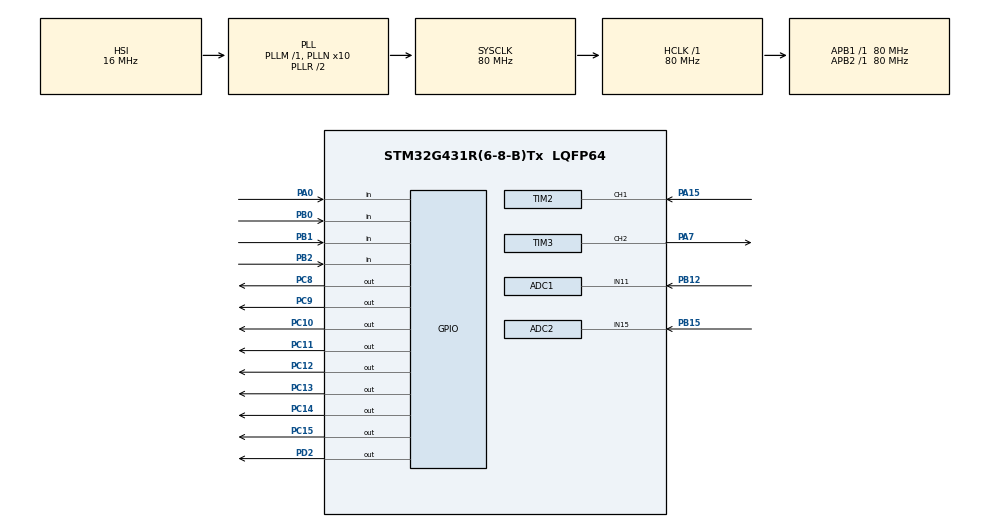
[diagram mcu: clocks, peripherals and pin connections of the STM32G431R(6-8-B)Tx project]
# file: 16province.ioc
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ADC1.Channel-0\#ChannelRegularConversion=ADC_CHANNEL_11
ADC1.NbrOfConversionFlag=1
ADC1.OffsetNumber-0\#ChannelRegularConversion=ADC_OFFSET_NONE
ADC1.Rank-0\#ChannelRegularConversion=1
ADC1.SamplingTime-0\#ChannelRegularConversion=ADC_SAMPLETIME_2CYCLES_5
ADC1.master=1
ADC2.Channel-0\#ChannelRegularConversion=ADC_CHANNEL_15
ADC2.NbrOfConversionFlag=1
ADC2.OffsetNumber-0\#ChannelRegularConversion=ADC_OFFSET_NONE
ADC2.Rank-0\#ChannelRegularConversion=1
ADC2.SamplingTime-0\#ChannelRegularConversion=ADC_SAMPLETIME_2CYCLES_5
Mcu.Family=STM32G4
Mcu.Name=STM32G431R(6-8-B)Tx
Mcu.Package=LQFP64
NVIC.PriorityGroup=NVIC_PRIORITYGROUP_4
NVIC.TIM1_TRG_COM_TIM17_IRQn=true\:0\:0\:false\:false\:true\:true\:true\:true
NVIC.TIM1_UP_TIM16_IRQn=true\:0\:0\:false\:false\:true\:true\:true\:true
NVIC.TIM2_IRQn=true\:0\:0\:false\:false\:true\:true\:true\:true
PA0.GPIO_Mode=GPIO_MODE_INPUT
PA0.GPIO_PuPd=GPIO_PULLUP
PA0.Signal=GPIO_Input
PA13.Mode=Serial_Wire
PA13.Signal=SYS_JTMS-SWDIO
PA14.Mode=Serial_Wire
PA14.Signal=SYS_JTCK-SWCLK
PA15.Signal=S_TIM2_CH1
PA7.Signal=S_TIM3_CH2
PB0.GPIO_Mode=GPIO_MODE_INPUT
PB0.GPIO_PuPd=GPIO_PULLUP
PB0.Signal=GPIO_Input
PB1.GPIO_Mode=GPIO_MODE_INPUT
PB1.GPIO_PuPd=GPIO_PULLUP
PB1.Signal=GPIO_Input
PB12.Mode=IN11-Single-Ended
PB12.Signal=ADC1_IN11
PB15.Mode=IN15-Single-Ended
PB15.Signal=ADC2_IN15
PB2.GPIO_Mode=GPIO_MODE_INPUT
PB2.GPIO_PuPd=GPIO_PULLUP
PB2.Signal=GPIO_Input
PC10.GPIO_ModeDefaultOutputPP=GPIO_MODE_OUTPUT_PP
PC10.PinState=GPIO_PIN_SET
PC10.Signal=GPIO_Output
PC11.GPIO_ModeDefaultOutputPP=GPIO_MODE_OUTPUT_PP
PC11.PinState=GPIO_PIN_SET
PC11.Signal=GPIO_Output
PC12.GPIO_ModeDefaultOutputPP=GPIO_MODE_OUTPUT_PP
PC12.PinState=GPIO_PIN_SET
PC12.Signal=GPIO_Output
PC13.GPIO_ModeDefaultOutputPP=GPIO_MODE_OUTPUT_PP
PC13.PinState=GPIO_PIN_SET
PC13.Signal=GPIO_Output
PC14-OSC32_IN.GPIO_ModeDefaultOutputPP=GPIO_MODE_OUTPUT_PP
PC14-OSC32_IN.PinState=GPIO_PIN_SET
PC14-OSC32_IN.Signal=GPIO_Output
PC15-OSC32_OUT.GPIO_ModeDefaultOutputPP=GPIO_MODE_OUTPUT_PP
PC15-OSC32_OUT.PinState=GPIO_PIN_SET
PC15-OSC32_OUT.Signal=GPIO_Output
PC8.GPIO_ModeDefaultOutputPP=GPIO_MODE_OUTPUT_PP
PC8.PinState=GPIO_PIN_SET
PC8.Signal=GPIO_Output
PC9.GPIO_ModeDefaultOutputPP=GPIO_MODE_OUTPUT_PP
PC9.PinState=GPIO_PIN_SET
PC9.Signal=GPIO_Output
PD2.GPIO_ModeDefaultOutputPP=GPIO_MODE_OUTPUT_PP
PD2.PinState=GPIO_PIN_SET
PD2.Signal=GPIO_Output
PF0-OSC_IN.Mode=HSE-External-Oscillator
PF0-OSC_IN.Signal=RCC_OSC_IN
PF1-OSC_OUT.Mode=HSE-External-Oscillator
PF1-OSC_OUT.Signal=RCC_OSC_OUT
ProjectManager.HeapSize=0x200
ProjectManager.StackSize=0x400
ProjectManager.TargetToolchain=MDK-ARM V5.32
RCC.ADC12Freq_Value=80000000
RCC.AHBFreq_Value=80000000
RCC.APB1Freq_Value=80000000
RCC.APB1TimFreq_Value=80000000
RCC.APB2Freq_Value=80000000
RCC.APB2TimFreq_Value=80000000
RCC.CortexFreq_Value=80000000
RCC.EXTERNAL_CLOCK_VALUE=12288000
RCC.HCLKFreq_Value=80000000
RCC.HSE_VALUE=24000000
RCC.HSI48_VALUE=48000000
RCC.HSI_VALUE=16000000
RCC.LSE_VALUE=32768
RCC.PLLN=10
RCC.SYSCLKFreq_VALUE=80000000
RCC.SYSCLKSource=RCC_SYSCLKSOURCE_PLLCLK
RCC.USBFreq_Value=80000000
RCC.VCOOutputFreq_Value=160000000
SH.S_TIM2_CH1.0=TIM2_CH1,Input_Capture1_from_TI1
SH.S_TIM3_CH2.0=TIM3_CH2,PWM Generation2 CH2
TIM16.PeriodNoDither=999
TIM16.Prescaler=799
TIM17.PeriodNoDither=9999
TIM17.Prescaler=7999
TIM2.Channel-Input_Capture1_from_TI1=TIM_CHANNEL_1
TIM2.Prescaler=80-1
TIM3.Channel-PWM\ Generation2\ CH2=TIM_CHANNEL_2
TIM3.PeriodNoDither=99
TIM3.Prescaler=799
VP_SYS_VS_DBSignals.Mode=DisableDeadBatterySignals
VP_TIM16_VS_ClockSourceINT.Mode=Enable_Timer
VP_TIM17_VS_ClockSourceINT.Mode=Enable_Timer
board=custom

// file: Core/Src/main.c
/* USER CODE BEGIN Header */
/**
  ******************************************************************************
  * @file           : main.c
  * @brief          : Main program body
  ******************************************************************************
  * @attention
  *
  * Copyright (c) 2026 STMicroelectronics.
  * All rights reserved.
  *
  * This software is licensed under terms that can be found in the LICENSE file
  * in the root directory of this software component.
  * If no LICENSE file comes with this software, it is provided AS-IS.
  *
  ******************************************************************************
  */
/* USER CODE END Header */
#include "main.h"
#include "adc.h"
#include "tim.h"
#include "gpio.h"

/* USER CODE BEGIN Includes */
#include "lcd.h"
#include "fun.h"
/* USER CODE END Includes */

void SystemClock_Config(void);

int main(void)
{

  /* MCU Configuration--------------------------------------------------------*/

  /* Reset of all peripherals, Initializes the Flash interface and the Systick. */
  HAL_Init();

  /* Configure the system clock */
  SystemClock_Config();

  /* Initialize all configured peripherals */
  MX_GPIO_Init();
  MX_ADC1_Init();
  MX_ADC2_Init();
  MX_TIM2_Init();
  MX_TIM3_Init();
  MX_TIM17_Init();
  MX_TIM16_Init();
  /* USER CODE BEGIN 2 */
  HAL_GPIO_WritePin(GPIOD, GPIO_PIN_2, GPIO_PIN_RESET);
  HAL_ADCEx_Calibration_Start(&hadc1, ADC_SINGLE_ENDED);
  HAL_ADCEx_Calibration_Start(&hadc2, ADC_SINGLE_ENDED);
  LCD_Init();
  LCD_SetBackColor(Black);
  LCD_SetTextColor(White);
  LCD_Clear(Black);
  HAL_TIM_Base_Start_IT(&htim16);
  HAL_TIM_Base_Start_IT(&htim17);
  HAL_TIM_IC_Start_IT(&htim2, TIM_CHANNEL_1);
  uint16_t last_lcd_tick = 0;
  /* USER CODE END 2 */

  /* Infinite loop */
  /* USER CODE BEGIN WHILE */
  while (1)
  {
    if(HAL_GetTick() - last_lcd_tick > 90){
      last_lcd_tick = HAL_GetTick();
      fun_lcd();
    }
    fun_led();
    adc_proc();
    /* USER CODE END WHILE */

  }
}

void SystemClock_Config(void)
{
  RCC_OscInitTypeDef RCC_OscInitStruct = {0};
  RCC_ClkInitTypeDef RCC_ClkInitStruct = {0};

  /** Configure the main internal regulator output voltage
  */
  HAL_PWREx_ControlVoltageScaling(PWR_REGULATOR_VOLTAGE_SCALE1);

  /** Initializes the RCC Oscillators according to the specified parameters
  * in the RCC_OscInitTypeDef structure.
  */
  RCC_OscInitStruct.OscillatorType = RCC_OSCILLATORTYPE_HSI;
  RCC_OscInitStruct.HSIState = RCC_HSI_ON;
  RCC_OscInitStruct.HSICalibrationValue = RCC_HSICALIBRATION_DEFAULT;
  RCC_OscInitStruct.PLL.PLLState = RCC_PLL_ON;
  RCC_OscInitStruct.PLL.PLLSource = RCC_PLLSOURCE_HSI;
  RCC_OscInitStruct.PLL.PLLM = RCC_PLLM_DIV1;
  RCC_OscInitStruct.PLL.PLLN = 10;
  RCC_OscInitStruct.PLL.PLLP = RCC_PLLP_DIV2;
  RCC_OscInitStruct.PLL.PLLQ = RCC_PLLQ_DIV2;
  RCC_OscInitStruct.PLL.PLLR = RCC_PLLR_DIV2;
  if (HAL_RCC_OscConfig(&RCC_OscInitStruct) != HAL_OK)
  {
    Error_Handler();
  }

  /** Initializes the CPU, AHB and APB buses clocks
  */
  RCC_ClkInitStruct.ClockType = RCC_CLOCKTYPE_HCLK|RCC_CLOCKTYPE_SYSCLK
                              |RCC_CLOCKTYPE_PCLK1|RCC_CLOCKTYPE_PCLK2;
  RCC_ClkInitStruct.SYSCLKSource = RCC_SYSCLKSOURCE_PLLCLK;
  RCC_ClkInitStruct.AHBCLKDivider = RCC_SYSCLK_DIV1;
  RCC_ClkInitStruct.APB1CLKDivider = RCC_HCLK_DIV1;
  RCC_ClkInitStruct.APB2CLKDivider = RCC_HCLK_DIV1;

  if (HAL_RCC_ClockConfig(&RCC_ClkInitStruct, FLASH_LATENCY_2) != HAL_OK)
  {
    Error_Handler();
  }
}

void Error_Handler(void)
{
  __disable_irq();
  while (1)
  {
  }
}
